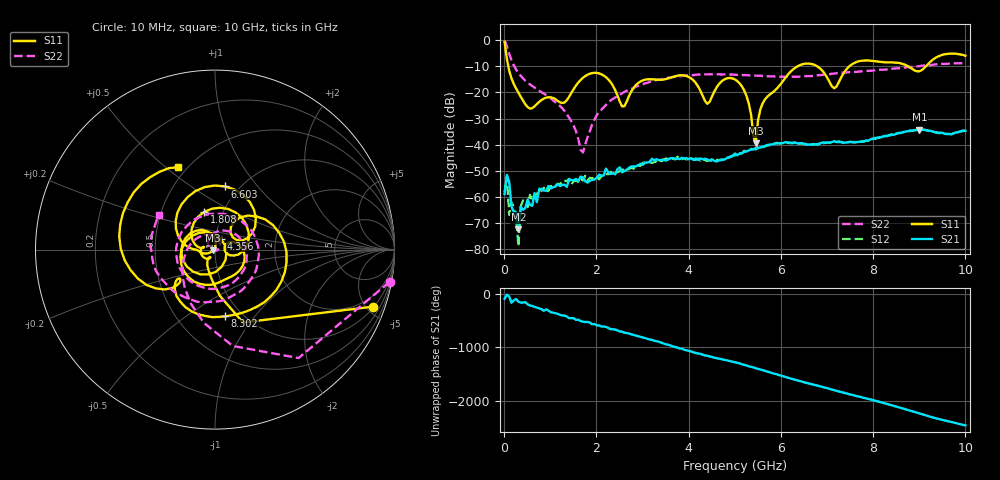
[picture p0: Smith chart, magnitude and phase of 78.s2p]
!Agilent Technologies,N5230C,MY49000813,A.09.42.22
!Agilent N5230C: A.09.42.22
!Date: Friday, August 21, 2026 19:40:21
!Correction: S11(Full 2 Port(1,2))
!S21(Full 2 Port(1,2))
!S12(Full 2 Port(1,2))
!S22(Full 2 Port(1,2))
!S2P File: Measurements: S11, S21, S12, S22:
# Hz S  dB  R 50
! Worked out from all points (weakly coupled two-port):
!   201 points, 10 MHz to 10 GHz, reference 50 ohm
!   highest |S21| = -34.25 dB at 9.001 GHz (marker M1); lowest = -72.4 dB at 309.7 MHz (marker M2)
!   lowest |S11| = -39.4 dB at 5.455 GHz (marker M3), VSWR 1.02, Z = 49 - j0.321 ohm
!   |S11| at or under -10 dB: 90.91 MHz to 6.362 GHz (6.271 GHz wide, 194 % of centre); 6.785 GHz to 7.485 GHz (700.3 MHz wide, 9.81 % of centre); 8.758 GHz to 9.142 GHz (384.8 MHz wide, 4.3 % of centre)
!   |S22| runs from -43.0 to -0.1 dB; largest |S21 - S12| = 0.0051
!   S11 on the Smith chart (normalised r, x): 10 MHz: 1.11, -5.48; 1.808 GHz: 0.82, +0.36; 4.356 GHz: 1.06, +0.13; 6.603 GHz: 0.86, +0.69; 8.302 GHz: 0.83, -0.72; 10 GHz: 0.45, +0.55
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1e7  -0.60 -19.9  -58.88 -94.1  -58.15 -156.1  -0.10 -10.5
5.995e7  -7.23 -69.0  -51.60 -16.9  -52.25 161.1  -2.35 -52.4
1.099e8  -11.70 -83.8  -54.21 -56.9  -66.89 -149.3  -5.26 -79.6
2.098e8  -16.75 -100.8  -65.85 -126.6  -63.97 -100.8  -9.64 -114.1
3.097e8  -20.07 -115.4  -72.36 -150.1  -78.87 -114.3  -12.52 -139.4
4.096e8  -23.09 -125.5  -64.96 -166.1  -61.32 -152.3  -14.62 -161.0
1.7083e9  -14.38 127.9  -52.54 -162.5  -53.74 -158.1  -42.99 -94.9
1.8082e9  -13.21 105.8  -54.53 -166.4  -53.72 -173.5  -37.12 -152.0
2.55745e9  -25.39 -4.6  -50.62 8.9  -49.54 9.5  -20.30 87.6
3.35665e9  -15.16 -62.6  -46.05 -178.3  -45.89 175.8  -15.10 -4.0
4.35565e9  -23.28 62.3  -45.38 -72.4  -45.93 -69.9  -13.12 -108.1
5.005e9  -15.05 159.5  -43.38 158.3  -44.17 156.5  -13.23 -167.2
5.25475e9  -21.39 101.3  -42.62 99.1  -42.53 99.5  -13.38 172.1
5.45455e9  -39.44 -162.1  -41.80 48.4  -41.37 51.5  -13.56 155.4
5.65435e9  -22.67 -165.3  -40.54 0.7  -40.74 -0.1  -13.79 140.1
6.6034e9  -8.96 80.9  -39.93 124.3  -39.81 123.7  -13.76 69.4
6.7033e9  -9.28 62.7  -39.92 103.7  -39.76 101.4  -13.67 61.2
7.15285e9  -18.39 35.4  -38.67 -0.5  -38.95 0.4  -12.77 25.9
8.3017e9  -8.50 -81.6  -36.75 101.4  -36.58 101.1  -11.19 -70.4
8.35165e9  -8.50 -87.0  -36.40 90.1  -36.53 88.3  -11.06 -74.6
9.001e9  -11.90 -139.2  -34.25 -74.2  -34.35 -74.8  -9.96 -126.8
1e10  -5.98 114.1  -34.73 62.0  -34.70 61.6  -8.72 148.6
